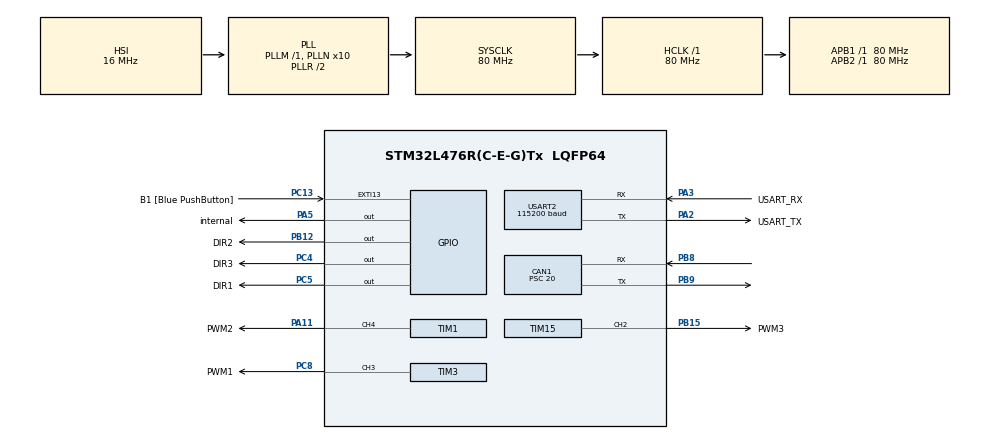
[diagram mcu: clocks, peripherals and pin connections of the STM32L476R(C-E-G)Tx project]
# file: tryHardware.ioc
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CAN1.BS1=CAN_BS1_2TQ
CAN1.CalculateBaudRate=1000000
CAN1.CalculateTimeBit=1000
CAN1.CalculateTimeQuantum=250.0
CAN1.Prescaler=20
Mcu.Family=STM32L4
Mcu.Name=STM32L476R(C-E-G)Tx
Mcu.Package=LQFP64
NVIC.CAN1_RX0_IRQn=true\:0\:0\:false\:false\:true\:true\:true\:true
NVIC.PriorityGroup=NVIC_PRIORITYGROUP_4
NVIC.USART2_IRQn=true\:0\:0\:false\:false\:true\:true\:true\:true
PA11.GPIO_Label=PWM2
PA11.Signal=S_TIM1_CH4
PA13\ (JTMS-SWDIO).GPIO_Label=TMS
PA13\ (JTMS-SWDIO).Mode=Serial_Wire
PA13\ (JTMS-SWDIO).Signal=SYS_JTMS-SWDIO
PA14\ (JTCK-SWCLK).GPIO_Label=TCK
PA14\ (JTCK-SWCLK).Mode=Serial_Wire
PA14\ (JTCK-SWCLK).Signal=SYS_JTCK-SWCLK
PA2.GPIO_Label=USART_TX
PA2.GPIO_Mode=GPIO_MODE_AF_PP
PA2.GPIO_PuPd=GPIO_NOPULL
PA2.GPIO_Speed=GPIO_SPEED_FREQ_VERY_HIGH
PA2.Mode=Asynchronous
PA2.Signal=USART2_TX
PA3.GPIO_Label=USART_RX
PA3.GPIO_Mode=GPIO_MODE_AF_PP
PA3.GPIO_PuPd=GPIO_NOPULL
PA3.GPIO_Speed=GPIO_SPEED_FREQ_VERY_HIGH
PA3.Mode=Asynchronous
PA3.Signal=USART2_RX
PA5.GPIO_Label=internal
PA5.GPIO_ModeDefaultOutputPP=GPIO_MODE_OUTPUT_PP
PA5.GPIO_PuPd=GPIO_NOPULL
PA5.GPIO_Speed=GPIO_SPEED_FREQ_LOW
PA5.Signal=GPIO_Output
PB12.GPIO_Label=DIR2
PB12.Signal=GPIO_Output
PB15.GPIO_Label=PWM3
PB15.Signal=S_TIM15_CH2
PB3\ (JTDO-TRACESWO).GPIO_Label=SWO
PB3\ (JTDO-TRACESWO).Signal=SYS_JTDO-SWO
PB8.Mode=CAN_Activate
PB8.Signal=CAN1_RX
PB9.Mode=CAN_Activate
PB9.Signal=CAN1_TX
PC13.GPIO_Label=B1 [Blue PushButton]
PC13.GPIO_ModeDefaultEXTI=GPIO_MODE_IT_FALLING
PC13.GPIO_PuPd=GPIO_NOPULL
PC13.Signal=GPXTI13
PC14-OSC32_IN\ (PC14).Mode=LSE-External-Oscillator
PC14-OSC32_IN\ (PC14).Signal=RCC_OSC32_IN
PC15-OSC32_OUT\ (PC15).Mode=LSE-External-Oscillator
PC15-OSC32_OUT\ (PC15).Signal=RCC_OSC32_OUT
PC4.GPIO_Label=DIR3
PC4.Signal=GPIO_Output
PC5.GPIO_Label=DIR1
PC5.Signal=GPIO_Output
PC8.GPIO_Label=PWM1
PC8.Signal=S_TIM3_CH3
PH0-OSC_IN\ (PH0).Signal=RCC_OSC_IN
PH1-OSC_OUT\ (PH1).Signal=RCC_OSC_OUT
ProjectManager.HeapSize=0x200
ProjectManager.StackSize=0x400
ProjectManager.TargetToolchain=STM32CubeIDE
RCC.ADCFreq_Value=64000000
RCC.AHBFreq_Value=80000000
RCC.APB1Freq_Value=80000000
RCC.APB1TimFreq_Value=80000000
RCC.APB2Freq_Value=80000000
RCC.APB2TimFreq_Value=80000000
RCC.CortexFreq_Value=80000000
RCC.HCLKFreq_Value=80000000
RCC.HSE_VALUE=8000000
RCC.HSI_VALUE=16000000
RCC.MSI_VALUE=4000000
RCC.PLLN=10
RCC.PLLSourceVirtual=RCC_PLLSOURCE_HSI
RCC.PREFETCH_ENABLE=1
RCC.SYSCLKFreq_VALUE=80000000
RCC.SYSCLKSource=RCC_SYSCLKSOURCE_PLLCLK
RCC.USBFreq_Value=64000000
RCC.VCOOutputFreq_Value=160000000
SH.S_TIM15_CH2.0=TIM15_CH2,PWM Generation2 CH2
SH.S_TIM1_CH4.0=TIM1_CH4,PWM Generation4 CH4
SH.S_TIM3_CH3.0=TIM3_CH3,PWM Generation3 CH3
TIM1.Channel-PWM\ Generation4\ CH4=TIM_CHANNEL_4
TIM1.Period=1000
TIM1.Prescaler=79
TIM15.Channel-PWM\ Generation2\ CH2=TIM_CHANNEL_2
TIM15.Period=1000
TIM15.Prescaler=79
TIM3.Channel-PWM\ Generation3\ CH3=TIM_CHANNEL_3
TIM3.Period=1000
TIM3.Prescaler=79
USART2.BaudRate=115200
USART2.VirtualMode-Asynchronous=VM_ASYNC
board=NUCLEO-L476RG

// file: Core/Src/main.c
/* USER CODE BEGIN Header */
/**
  ******************************************************************************
  * @file           : main.c
  * @brief          : Main program body
  ******************************************************************************
  * @attention
  *
  * Copyright (c) 2025 STMicroelectronics.
  * All rights reserved.
  *
  * This software is licensed under terms that can be found in the LICENSE file
  * in the root directory of this software component.
  * If no LICENSE file comes with this software, it is provided AS-IS.
  *
  ******************************************************************************
  */
/* USER CODE END Header */
#include "main.h"

/* USER CODE BEGIN Includes */
#include "robomaster.h"
#include "serial_util.h"
/* USER CODE END Includes */

/* USER CODE BEGIN PM */
RoboMaster rm;

void HAL_CAN_RxFifo0MsgPendingCallback(CAN_HandleTypeDef *hcan);
void motor1(int pwm);
void motor2(int pwm);
void motor3(int pwm);
/* USER CODE END PM */

CAN_HandleTypeDef hcan1;

TIM_HandleTypeDef htim1;
TIM_HandleTypeDef htim3;
TIM_HandleTypeDef htim15;

UART_HandleTypeDef huart2;

void SystemClock_Config(void);
static void MX_GPIO_Init(void);
static void MX_USART2_UART_Init(void);
static void MX_CAN1_Init(void);
static void MX_TIM1_Init(void);
static void MX_TIM3_Init(void);
static void MX_TIM15_Init(void);

int main(void)
{

  /* MCU Configuration--------------------------------------------------------*/

  /* Reset of all peripherals, Initializes the Flash interface and the Systick. */
  HAL_Init();

  /* Configure the system clock */
  SystemClock_Config();

  /* Initialize all configured peripherals */
  MX_GPIO_Init();
  MX_USART2_UART_Init();
  MX_CAN1_Init();
  MX_TIM1_Init();
  MX_TIM3_Init();
  MX_TIM15_Init();
  /* USER CODE BEGIN 2 */
  HAL_CAN_Start(&hcan1);
	HAL_CAN_ActivateNotification(&hcan1, CAN_IT_RX_FIFO0_MSG_PENDING);
	HAL_TIM_PWM_Start(&htim3, TIM_CHANNEL_3);
	HAL_TIM_PWM_Start(&htim1, TIM_CHANNEL_4);
	HAL_TIM_PWM_Start(&htim15, TIM_CHANNEL_2);

	rm = initalizeRoboMaster();
	setType(&rm, 1, M2006);
	setType(&rm, 2, M2006);
	setType(&rm, 3, M2006);

	setGain(&rm, 1, 0.5, 0.0, 0.03);
	setGain(&rm, 2, 0.5, 0.0, 0.03);
	setGain(&rm, 3, 0.5, 0.0, 0.03);

	HAL_GPIO_WritePin(internal_GPIO_Port, internal_Pin, GPIO_PIN_RESET);
	HAL_Delay(50);
	HAL_GPIO_WritePin(internal_GPIO_Port, internal_Pin, GPIO_PIN_SET);
	HAL_Delay(50);
	HAL_GPIO_WritePin(internal_GPIO_Port, internal_Pin, GPIO_PIN_RESET);
	HAL_Delay(50);
	HAL_GPIO_WritePin(internal_GPIO_Port, internal_Pin, GPIO_PIN_SET);
	HAL_Delay(50);
	HAL_GPIO_WritePin(internal_GPIO_Port, internal_Pin, GPIO_PIN_RESET);

  /* USER CODE END 2 */

  /* Infinite loop */
  /* USER CODE BEGIN WHILE */
  while (1)
  {
	  ReceiveValue target = SerialRead(&huart2);
	  if(target.pwm_1 > 0)
	  {
		  HAL_GPIO_WritePin(internal_GPIO_Port, internal_Pin, GPIO_PIN_SET);
	  }
	  else
	  {
		  HAL_GPIO_WritePin(internal_GPIO_Port, internal_Pin, GPIO_PIN_RESET);
	  }

	  setTarget(&rm, 1, Velocity, target.rpm_1);
	  setTarget(&rm, 2, Velocity, target.rpm_2);
	  setTarget(&rm, 3, Velocity, target.rpm_3);

	  motor1(target.pwm_1);
	  motor2(target.pwm_2);
	  motor3(target.pwm_3);

	  controlRoboMaster(&rm, &hcan1);
	  HAL_Delay(20);
    /* USER CODE END WHILE */

  }
}

void SystemClock_Config(void)
{
  RCC_OscInitTypeDef RCC_OscInitStruct = {0};
  RCC_ClkInitTypeDef RCC_ClkInitStruct = {0};

  /** Configure the main internal regulator output voltage
  */
  if (HAL_PWREx_ControlVoltageScaling(PWR_REGULATOR_VOLTAGE_SCALE1) != HAL_OK)
  {
    Error_Handler();
  }

  /** Initializes the RCC Oscillators according to the specified parameters
  * in the RCC_OscInitTypeDef structure.
  */
  RCC_OscInitStruct.OscillatorType = RCC_OSCILLATORTYPE_HSI;
  RCC_OscInitStruct.HSIState = RCC_HSI_ON;
  RCC_OscInitStruct.HSICalibrationValue = RCC_HSICALIBRATION_DEFAULT;
  RCC_OscInitStruct.PLL.PLLState = RCC_PLL_ON;
  RCC_OscInitStruct.PLL.PLLSource = RCC_PLLSOURCE_HSI;
  RCC_OscInitStruct.PLL.PLLM = 1;
  RCC_OscInitStruct.PLL.PLLN = 10;
  RCC_OscInitStruct.PLL.PLLP = RCC_PLLP_DIV7;
  RCC_OscInitStruct.PLL.PLLQ = RCC_PLLQ_DIV2;
  RCC_OscInitStruct.PLL.PLLR = RCC_PLLR_DIV2;
  if (HAL_RCC_OscConfig(&RCC_OscInitStruct) != HAL_OK)
  {
    Error_Handler();
  }

  /** Initializes the CPU, AHB and APB buses clocks
  */
  RCC_ClkInitStruct.ClockType = RCC_CLOCKTYPE_HCLK|RCC_CLOCKTYPE_SYSCLK
                              |RCC_CLOCKTYPE_PCLK1|RCC_CLOCKTYPE_PCLK2;
  RCC_ClkInitStruct.SYSCLKSource = RCC_SYSCLKSOURCE_PLLCLK;
  RCC_ClkInitStruct.AHBCLKDivider = RCC_SYSCLK_DIV1;
  RCC_ClkInitStruct.APB1CLKDivider = RCC_HCLK_DIV1;
  RCC_ClkInitStruct.APB2CLKDivider = RCC_HCLK_DIV1;

  if (HAL_RCC_ClockConfig(&RCC_ClkInitStruct, FLASH_LATENCY_4) != HAL_OK)
  {
    Error_Handler();
  }
}

static void MX_CAN1_Init(void)
{

  hcan1.Instance = CAN1;
  hcan1.Init.Prescaler = 20;
  hcan1.Init.Mode = CAN_MODE_NORMAL;
  hcan1.Init.SyncJumpWidth = CAN_SJW_1TQ;
  hcan1.Init.TimeSeg1 = CAN_BS1_2TQ;
  hcan1.Init.TimeSeg2 = CAN_BS2_1TQ;
  hcan1.Init.TimeTriggeredMode = DISABLE;
  hcan1.Init.AutoBusOff = DISABLE;
  hcan1.Init.AutoWakeUp = DISABLE;
  hcan1.Init.AutoRetransmission = DISABLE;
  hcan1.Init.ReceiveFifoLocked = DISABLE;
  hcan1.Init.TransmitFifoPriority = DISABLE;
  if (HAL_CAN_Init(&hcan1) != HAL_OK)
  {
    Error_Handler();
  }

}

static void MX_TIM1_Init(void)
{

  TIM_MasterConfigTypeDef sMasterConfig = {0};
  TIM_OC_InitTypeDef sConfigOC = {0};
  TIM_BreakDeadTimeConfigTypeDef sBreakDeadTimeConfig = {0};

  htim1.Instance = TIM1;
  htim1.Init.Prescaler = 79;
  htim1.Init.CounterMode = TIM_COUNTERMODE_UP;
  htim1.Init.Period = 1000;
  htim1.Init.ClockDivision = TIM_CLOCKDIVISION_DIV1;
  htim1.Init.RepetitionCounter = 0;
  htim1.Init.AutoReloadPreload = TIM_AUTORELOAD_PRELOAD_DISABLE;
  if (HAL_TIM_PWM_Init(&htim1) != HAL_OK)
  {
    Error_Handler();
  }
  sMasterConfig.MasterOutputTrigger = TIM_TRGO_RESET;
  sMasterConfig.MasterOutputTrigger2 = TIM_TRGO2_RESET;
  sMasterConfig.MasterSlaveMode = TIM_MASTERSLAVEMODE_DISABLE;
  if (HAL_TIMEx_MasterConfigSynchronization(&htim1, &sMasterConfig) != HAL_OK)
  {
    Error_Handler();
  }
  sConfigOC.OCMode = TIM_OCMODE_PWM1;
  sConfigOC.Pulse = 0;
  sConfigOC.OCPolarity = TIM_OCPOLARITY_HIGH;
  sConfigOC.OCFastMode = TIM_OCFAST_DISABLE;
  sConfigOC.OCIdleState = TIM_OCIDLESTATE_RESET;
  sConfigOC.OCNIdleState = TIM_OCNIDLESTATE_RESET;
  if (HAL_TIM_PWM_ConfigChannel(&htim1, &sConfigOC, TIM_CHANNEL_4) != HAL_OK)
  {
    Error_Handler();
  }
  sBreakDeadTimeConfig.OffStateRunMode = TIM_OSSR_DISABLE;
  sBreakDeadTimeConfig.OffStateIDLEMode = TIM_OSSI_DISABLE;
  sBreakDeadTimeConfig.LockLevel = TIM_LOCKLEVEL_OFF;
  sBreakDeadTimeConfig.DeadTime = 0;
  sBreakDeadTimeConfig.BreakState = TIM_BREAK_DISABLE;
  sBreakDeadTimeConfig.BreakPolarity = TIM_BREAKPOLARITY_HIGH;
  sBreakDeadTimeConfig.BreakFilter = 0;
  sBreakDeadTimeConfig.Break2State = TIM_BREAK2_DISABLE;
  sBreakDeadTimeConfig.Break2Polarity = TIM_BREAK2POLARITY_HIGH;
  sBreakDeadTimeConfig.Break2Filter = 0;
  sBreakDeadTimeConfig.AutomaticOutput = TIM_AUTOMATICOUTPUT_DISABLE;
  if (HAL_TIMEx_ConfigBreakDeadTime(&htim1, &sBreakDeadTimeConfig) != HAL_OK)
  {
    Error_Handler();
  }
  HAL_TIM_MspPostInit(&htim1);

}

static void MX_TIM3_Init(void)
{

  TIM_MasterConfigTypeDef sMasterConfig = {0};
  TIM_OC_InitTypeDef sConfigOC = {0};

  htim3.Instance = TIM3;
  htim3.Init.Prescaler = 79;
  htim3.Init.CounterMode = TIM_COUNTERMODE_UP;
  htim3.Init.Period = 1000;
  htim3.Init.ClockDivision = TIM_CLOCKDIVISION_DIV1;
  htim3.Init.AutoReloadPreload = TIM_AUTORELOAD_PRELOAD_DISABLE;
  if (HAL_TIM_PWM_Init(&htim3) != HAL_OK)
  {
    Error_Handler();
  }
  sMasterConfig.MasterOutputTrigger = TIM_TRGO_RESET;
  sMasterConfig.MasterSlaveMode = TIM_MASTERSLAVEMODE_DISABLE;
  if (HAL_TIMEx_MasterConfigSynchronization(&htim3, &sMasterConfig) != HAL_OK)
  {
    Error_Handler();
  }
  sConfigOC.OCMode = TIM_OCMODE_PWM1;
  sConfigOC.Pulse = 0;
  sConfigOC.OCPolarity = TIM_OCPOLARITY_HIGH;
  sConfigOC.OCFastMode = TIM_OCFAST_DISABLE;
  if (HAL_TIM_PWM_ConfigChannel(&htim3, &sConfigOC, TIM_CHANNEL_3) != HAL_OK)
  {
    Error_Handler();
  }
  HAL_TIM_MspPostInit(&htim3);

}

static void MX_TIM15_Init(void)
{

  TIM_MasterConfigTypeDef sMasterConfig = {0};
  TIM_OC_InitTypeDef sConfigOC = {0};
  TIM_BreakDeadTimeConfigTypeDef sBreakDeadTimeConfig = {0};

  htim15.Instance = TIM15;
  htim15.Init.Prescaler = 79;
  htim15.Init.CounterMode = TIM_COUNTERMODE_UP;
  htim15.Init.Period = 1000;
  htim15.Init.ClockDivision = TIM_CLOCKDIVISION_DIV1;
  htim15.Init.RepetitionCounter = 0;
  htim15.Init.AutoReloadPreload = TIM_AUTORELOAD_PRELOAD_DISABLE;
  if (HAL_TIM_PWM_Init(&htim15) != HAL_OK)
  {
    Error_Handler();
  }
  sMasterConfig.MasterOutputTrigger = TIM_TRGO_RESET;
  sMasterConfig.MasterSlaveMode = TIM_MASTERSLAVEMODE_DISABLE;
  if (HAL_TIMEx_MasterConfigSynchronization(&htim15, &sMasterConfig) != HAL_OK)
  {
    Error_Handler();
  }
  sConfigOC.OCMode = TIM_OCMODE_PWM1;
  sConfigOC.Pulse = 0;
  sConfigOC.OCPolarity = TIM_OCPOLARITY_HIGH;
  sConfigOC.OCNPolarity = TIM_OCNPOLARITY_HIGH;
  sConfigOC.OCFastMode = TIM_OCFAST_DISABLE;
  sConfigOC.OCIdleState = TIM_OCIDLESTATE_RESET;
  sConfigOC.OCNIdleState = TIM_OCNIDLESTATE_RESET;
  if (HAL_TIM_PWM_ConfigChannel(&htim15, &sConfigOC, TIM_CHANNEL_2) != HAL_OK)
  {
    Error_Handler();
  }
  sBreakDeadTimeConfig.OffStateRunMode = TIM_OSSR_DISABLE;
  sBreakDeadTimeConfig.OffStateIDLEMode = TIM_OSSI_DISABLE;
  sBreakDeadTimeConfig.LockLevel = TIM_LOCKLEVEL_OFF;
  sBreakDeadTimeConfig.DeadTime = 0;
  sBreakDeadTimeConfig.BreakState = TIM_BREAK_DISABLE;
  sBreakDeadTimeConfig.BreakPolarity = TIM_BREAKPOLARITY_HIGH;
  sBreakDeadTimeConfig.AutomaticOutput = TIM_AUTOMATICOUTPUT_DISABLE;
  if (HAL_TIMEx_ConfigBreakDeadTime(&htim15, &sBreakDeadTimeConfig) != HAL_OK)
  {
    Error_Handler();
  }
  HAL_TIM_MspPostInit(&htim15);

}

static void MX_USART2_UART_Init(void)
{

  huart2.Instance = USART2;
  huart2.Init.BaudRate = 230400;
  huart2.Init.WordLength = UART_WORDLENGTH_8B;
  huart2.Init.StopBits = UART_STOPBITS_1;
  huart2.Init.Parity = UART_PARITY_NONE;
  huart2.Init.Mode = UART_MODE_TX_RX;
  huart2.Init.HwFlowCtl = UART_HWCONTROL_NONE;
  huart2.Init.OverSampling = UART_OVERSAMPLING_16;
  huart2.Init.OneBitSampling = UART_ONE_BIT_SAMPLE_DISABLE;
  huart2.AdvancedInit.AdvFeatureInit = UART_ADVFEATURE_NO_INIT;
  if (HAL_UART_Init(&huart2) != HAL_OK)
  {
    Error_Handler();
  }

}

static void MX_GPIO_Init(void)
{
  GPIO_InitTypeDef GPIO_InitStruct = {0};

  /* GPIO Ports Clock Enable */
  __HAL_RCC_GPIOC_CLK_ENABLE();
  __HAL_RCC_GPIOH_CLK_ENABLE();
  __HAL_RCC_GPIOA_CLK_ENABLE();
  __HAL_RCC_GPIOB_CLK_ENABLE();

  /*Configure GPIO pin Output Level */
  HAL_GPIO_WritePin(internal_GPIO_Port, internal_Pin, GPIO_PIN_RESET);

  /*Configure GPIO pin Output Level */
  HAL_GPIO_WritePin(GPIOC, DIR3_Pin|DIR1_Pin, GPIO_PIN_RESET);

  /*Configure GPIO pin Output Level */
  HAL_GPIO_WritePin(DIR2_GPIO_Port, DIR2_Pin, GPIO_PIN_RESET);

  /*Configure GPIO pin : B1_Pin */
  GPIO_InitStruct.Pin = B1_Pin;
  GPIO_InitStruct.Mode = GPIO_MODE_IT_FALLING;
  GPIO_InitStruct.Pull = GPIO_NOPULL;
  HAL_GPIO_Init(B1_GPIO_Port, &GPIO_InitStruct);

  /*Configure GPIO pin : internal_Pin */
  GPIO_InitStruct.Pin = internal_Pin;
  GPIO_InitStruct.Mode = GPIO_MODE_OUTPUT_PP;
  GPIO_InitStruct.Pull = GPIO_NOPULL;
  GPIO_InitStruct.Speed = GPIO_SPEED_FREQ_LOW;
  HAL_GPIO_Init(internal_GPIO_Port, &GPIO_InitStruct);

  /*Configure GPIO pins : DIR3_Pin DIR1_Pin */
  GPIO_InitStruct.Pin = DIR3_Pin|DIR1_Pin;
  GPIO_InitStruct.Mode = GPIO_MODE_OUTPUT_PP;
  GPIO_InitStruct.Pull = GPIO_NOPULL;
  GPIO_InitStruct.Speed = GPIO_SPEED_FREQ_LOW;
  HAL_GPIO_Init(GPIOC, &GPIO_InitStruct);

  /*Configure GPIO pin : DIR2_Pin */
  GPIO_InitStruct.Pin = DIR2_Pin;
  GPIO_InitStruct.Mode = GPIO_MODE_OUTPUT_PP;
  GPIO_InitStruct.Pull = GPIO_NOPULL;
  GPIO_InitStruct.Speed = GPIO_SPEED_FREQ_LOW;
  HAL_GPIO_Init(DIR2_GPIO_Port, &GPIO_InitStruct);

}

/* USER CODE BEGIN 4 */
void HAL_CAN_RxFifo0MsgPendingCallback(CAN_HandleTypeDef *hcan)
{
	// 受信した際に送信元の情報とかが入る
	CAN_RxHeaderTypeDef RxHeader;

	//　受信したCANのデーターを格納する配列
	uint8_t RxData[8];

	// HAL_OKならRxDataに情報が入る。
	if (HAL_CAN_GetRxMessage(&hcan1, CAN_RX_FIFO0, &RxHeader, RxData)== HAL_OK) {

		// モーターのIDが１番なら0x201が来るので関数で扱うため0x200を引くと1になる
		uint32_t id = RxHeader.StdId - 0x200;

		//受信内容の中から各エンコーダ値を取り出す。
		setRecvData(&rm, id, RxData);
	}
}

void motor1(int pwm)
{
	if(pwm > 0)
	{
		__HAL_TIM_SET_COMPARE(&htim3, TIM_CHANNEL_3, pwm);
		HAL_GPIO_WritePin(DIR1_GPIO_Port, DIR1_Pin, GPIO_PIN_RESET);
	}
	else if(pwm < 0)
	{
		__HAL_TIM_SET_COMPARE(&htim3, TIM_CHANNEL_3, abs(pwm));
		HAL_GPIO_WritePin(DIR1_GPIO_Port, DIR1_Pin, GPIO_PIN_SET);
	}
	else
	{
		__HAL_TIM_SET_COMPARE(&htim3, TIM_CHANNEL_3, 0);
		HAL_GPIO_WritePin(DIR1_GPIO_Port, DIR1_Pin, GPIO_PIN_RESET);
	}
}
void motor2(int pwm)
{
	if(pwm > 0)
	{
		__HAL_TIM_SET_COMPARE(&htim1, TIM_CHANNEL_4, pwm);
		HAL_GPIO_WritePin(DIR2_GPIO_Port, DIR2_Pin, GPIO_PIN_RESET);
	}
	else if(pwm < 0)
	{
		__HAL_TIM_SET_COMPARE(&htim1, TIM_CHANNEL_4, abs(pwm));
		HAL_GPIO_WritePin(DIR2_GPIO_Port, DIR2_Pin, GPIO_PIN_SET);
	}
	else
	{
		__HAL_TIM_SET_COMPARE(&htim1, TIM_CHANNEL_4, 0);
		HAL_GPIO_WritePin(DIR2_GPIO_Port, DIR2_Pin, GPIO_PIN_RESET);
	}
}
void motor3(int pwm)
{
	if(pwm > 0)
	{
		__HAL_TIM_SET_COMPARE(&htim15, TIM_CHANNEL_2, pwm);
		HAL_GPIO_WritePin(DIR3_GPIO_Port, DIR3_Pin, GPIO_PIN_RESET);
	}
	else if(pwm < 0)
	{
		__HAL_TIM_SET_COMPARE(&htim15, TIM_CHANNEL_2, abs(pwm));
		HAL_GPIO_WritePin(DIR3_GPIO_Port, DIR3_Pin, GPIO_PIN_SET);
	}
	else
	{
		__HAL_TIM_SET_COMPARE(&htim15, TIM_CHANNEL_2, 0);
		HAL_GPIO_WritePin(DIR3_GPIO_Port, DIR3_Pin, GPIO_PIN_RESET);
	}
}

/* USER CODE END 4 */

void Error_Handler(void)
{
  __disable_irq();
  while (1)
  {
  }
}
